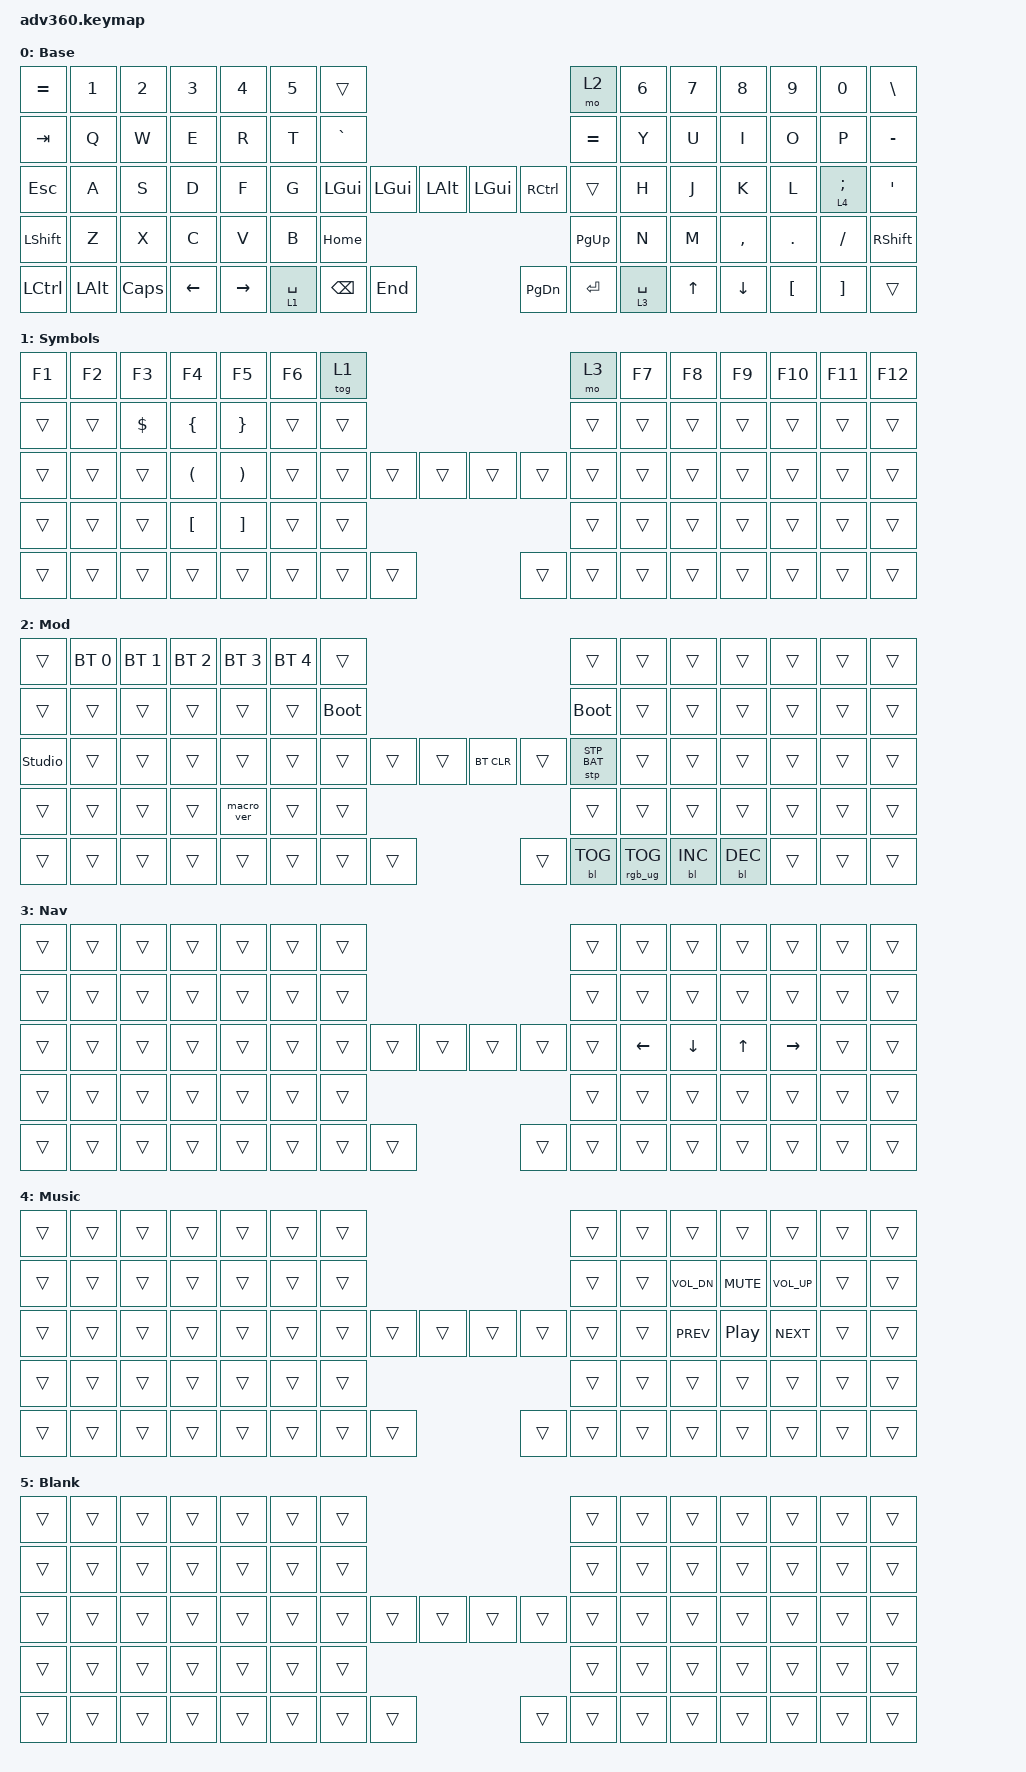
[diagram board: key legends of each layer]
#include <behaviors.dtsi>
#include <dt-bindings/zmk/keys.h>
#include <dt-bindings/zmk/bt.h>
#include <dt-bindings/zmk/rgb.h>
#include <dt-bindings/zmk/stp.h>
#include <dt-bindings/zmk/backlight.h>
#include <dt-bindings/zmk/pointing.h>

/ {
    behaviors {
      #include "macros.dtsi"
      #include "version.dtsi"

      hm: homerow_mods {
          compatible = "zmk,behavior-hold-tap";
          label = "HOMEROW_MODS";
          #binding-cells = <2>;
          tapping-term-ms = <200>;
          quick_tap_ms = <175>;
          flavor = "tap-preferred";
          bindings = <&kp>, <&kp>;
      }; 
    };

  keymap {
    compatible = "zmk,keymap";

    default_layer {
      display-name = "Base";
      bindings = <
        &kp EQUAL &kp N1    &kp N2   &kp N3   &kp N4     &kp N5 &trans                                                           &mo 2 &kp N6 &kp N7 &kp N8    &kp N9   &kp N0   &kp BSLH
        &kp TAB   &kp Q     &kp W    &kp E    &kp R      &kp T  &kp GRAVE                                                        &kp EQUAL &kp Y  &kp U  &kp I     &kp O    &kp P &kp MINUS
        &kp ESC   &kp A     &kp S    &kp D    &kp F      &kp G  &kp LGUI           &kp LGUI &kp LALT &kp LGUI  &kp RCTRL           &trans &kp H  &kp J  &kp K     &kp L    &lt 4 SEMI &kp SQT
        &kp LSHFT &kp Z     &kp X    &kp C    &kp V      &kp B                            &kp HOME &kp PG_UP                           &kp N  &kp M  &kp COMMA &kp DOT  &kp FSLH &kp RSHFT
        &kp LCTRL    &kp LALT &kp CAPS &kp LEFT &kp RIGHT                &lt 1 SPACE &kp BSPC &kp END  &kp PG_DN &kp ENTER &lt 3 SPACE              &kp UP &kp DOWN  &kp LBKT &kp RBKT &trans
      >;
    };
    symbols {
      display-name = "Symbols";
      bindings = <
        &kp F1 &kp F2 &kp F3 &kp F4 &kp F5 &kp F6 &tog 1                                                &mo 3 &kp F7 &kp F8 &kp F9 &kp F10 &kp F11 &kp F12
        &trans &trans &kp DLLR &kp LBRC &kp RBRC &trans  &trans                                         &trans &trans &trans &trans &trans  &trans  &trans
        &trans &trans &trans &kp LPAR &kp RPAR &trans  &trans        &trans &trans &trans &trans        &trans &trans &trans &trans &trans  &trans  &trans
        &trans &trans &trans &kp LBKT &kp RBKT &trans                      &trans &trans                     &trans &trans &trans &trans  &trans  &trans
        &trans &trans &trans &trans &trans               &trans &trans &trans &trans &trans &trans              &trans &trans &trans  &trans  &trans
      >;
    };
    mod {
      display-name = "Mod";
      bindings = <
        &trans &bt BT_SEL 0 &bt BT_SEL 1 &bt BT_SEL 2 &bt BT_SEL 3 &bt BT_SEL 4 &trans                                                                     &trans                 &trans        &trans        &trans        &trans &trans &trans
        &trans &trans        &trans        &trans        &trans        &trans        &bootloader                                                               &bootloader            &trans        &trans        &trans        &trans &trans &trans
        &studio_unlock &trans        &trans        &trans        &trans        &trans        &trans                   &trans &trans &bt BT_CLR &trans                      &stp STP_BAT &trans        &trans        &trans        &trans &trans &trans
        &trans &trans        &trans        &trans        &macro_ver   &trans                                      &trans &trans                                                        &trans        &trans        &trans        &trans &trans &trans
        &trans &trans        &trans        &trans        &trans                                       &trans &trans &trans &trans      &bl BL_TOG &rgb_ug RGB_TOG                                     &bl BL_INC   &bl BL_DEC   &trans &trans &trans
      >;
    };
    nav {
      display-name = "Nav";
      bindings = <
        &trans &trans &trans &trans &trans &trans  &trans                                           &trans &trans &trans &trans &trans  &trans  &trans
        &trans &trans &trans &trans &trans &trans  &trans                                           &trans &trans &trans &trans &trans  &trans  &trans
        &trans &trans &trans &trans &trans &trans  &trans        &trans &trans &trans &trans        &trans &kp LEFT &kp DOWN &kp UP &kp RIGHT &trans  &trans
        &trans &trans &trans &trans &trans &trans                      &trans &trans                     &trans &trans &trans &trans  &trans  &trans
        &trans &trans &trans &trans &trans               &trans &trans &trans &trans &trans &trans              &trans &trans &trans  &trans  &trans
      >;
    };
    music{
      display-name = "Music";
      bindings = <
        &trans &trans &trans &trans &trans &trans  &trans                                           &trans &trans &trans &trans &trans  &trans  &trans
        &trans &trans &trans &trans &trans &trans  &trans                                           &trans &trans &kp C_VOL_DN &kp C_MUTE &kp C_VOL_UP &trans  &trans
        &trans &trans &trans &trans &trans &trans  &trans        &trans &trans &trans &trans        &trans &trans &kp C_PREV &kp C_PP &kp C_NEXT &trans  &trans
        &trans &trans &trans &trans &trans &trans                      &trans &trans                     &trans &trans &trans &trans  &trans  &trans
        &trans &trans &trans &trans &trans               &trans &trans &trans &trans &trans &trans              &trans &trans &trans  &trans  &trans
      >;
    };
    blank{
      display-name = "Blank";
      bindings = <
        &trans &trans &trans &trans &trans &trans  &trans                                           &trans &trans &trans &trans &trans  &trans  &trans
        &trans &trans &trans &trans &trans &trans  &trans                                           &trans &trans &trans &trans &trans  &trans  &trans
        &trans &trans &trans &trans &trans &trans  &trans        &trans &trans &trans &trans        &trans &trans &trans &trans &trans  &trans  &trans
        &trans &trans &trans &trans &trans &trans                      &trans &trans                     &trans &trans &trans &trans  &trans  &trans
        &trans &trans &trans &trans &trans               &trans &trans &trans &trans &trans &trans              &trans &trans &trans  &trans  &trans
      >;
    };
    extra1 { 
      display-name = "Red";    
      status = "reserved";
    };

    extra2 { 
      display-name = "Purple";    
      status = "reserved";
    };

    extra3 { 
      display-name = "Cyan";    
      status = "reserved";
    };

    extra4 { 
      display-name = "Yellow";    
      status = "reserved";
    };
  };
};
